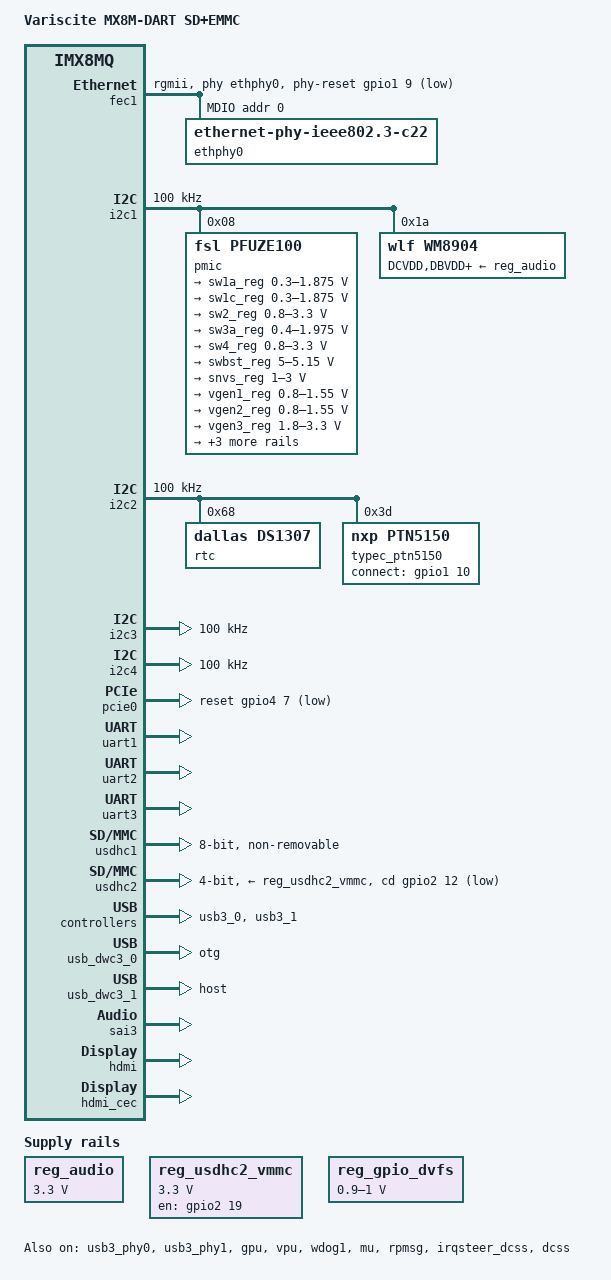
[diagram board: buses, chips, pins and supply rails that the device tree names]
/*
 * Copyright 2017 NXP
 * Copyright 2018 Variscite Ltd.
 *
 * This program is free software; you can redistribute it and/or
 * modify it under the terms of the GNU General Public License
 * as published by the Free Software Foundation; either version 2
 * of the License, or (at your option) any later version.
 *
 * This program is distributed in the hope that it will be useful,
 * but WITHOUT ANY WARRANTY; without even the implied warranty of
 * MERCHANTABILITY or FITNESS FOR A PARTICULAR PURPOSE.  See the
 * GNU General Public License for more details.
 */

/dts-v1/;

#include "../freescale/fsl-imx8mq.dtsi"

/ {
	model = "Variscite MX8M-DART SD+EMMC";
	compatible = "variscite,imx8m-dart", "fsl,imx8mq";

	chosen {
		bootargs = "console=ttymxc0,115200 earlycon=ec_imx6q,0x30860000,115200";
		stdout-path = &uart1;
	};

	regulators {
		compatible = "simple-bus";
		#address-cells = <1>;
		#size-cells = <0>;

		reg_audio: audio_vdd {
			compatible = "regulator-fixed";
			regulator-name = "wm8904_supply";
			regulator-min-microvolt = <3300000>;
			regulator-max-microvolt = <3300000>;
			regulator-always-on;
		};

		reg_usdhc2_vmmc: usdhc2_vmmc {
			compatible = "regulator-fixed";
			regulator-name = "VSD_3V3";
			regulator-min-microvolt = <3300000>;
			regulator-max-microvolt = <3300000>;
			gpio = <&gpio2 19 GPIO_ACTIVE_HIGH>;
			enable-active-high;
		};

		reg_gpio_dvfs: regulator-gpio {
			compatible = "regulator-gpio";
			pinctrl-names = "default";
			pinctrl-0 = <&pinctrl_dvfs>;
			regulator-min-microvolt = <900000>;
			regulator-max-microvolt = <1000000>;
			regulator-name = "gpio_dvfs";
			regulator-type = "voltage";
			gpios = <&gpio1 13 GPIO_ACTIVE_HIGH>;
			states = <900000 0x1 1000000 0x0>;
		};
	};

	sound-wm8904 {
		compatible = "fsl,imx-audio-wm8904";
		model = "imx-wm8904";
		audio-cpu = <&sai3>;
		audio-codec = <&wm8904>;
		audio-routing =
			"Headphone Jack", "HPOUTL",
			"Headphone Jack", "HPOUTR",
			"IN2L", "Line In Jack",
			"IN2R", "Line In Jack",
			"IN1L", "Mic",
			"Playback", "CPU-Playback",
			"CPU-Capture", "Capture";
		status = "okay";
        };

	sound-hdmi {
		compatible = "fsl,imx-audio-cdnhdmi";
		model = "imx-audio-hdmi";
		audio-cpu = <&sai4>;
		protocol = <1>;
		status = "disabled";
	};

	sound-spdif {
		compatible = "fsl,imx-audio-spdif";
		model = "imx-spdif";
		spdif-controller = <&spdif1>;
		spdif-out;
		spdif-in;
		status = "disabled";
	};

	sound-hdmi-arc {
		compatible = "fsl,imx-audio-spdif";
		model = "imx-hdmi-arc";
		spdif-controller = <&spdif2>;
		spdif-in;
		status = "disabled";
	};

        backlight_lvds: backlight_lvds {
                compatible = "pwm-backlight";
                pwms = <&pwm1 0 1000000>;
                brightness-levels = <0 4 8 16 32 64 128 255>;
                default-brightness-level = <7>;
                status = "disabled";
        };
};

&clk {
	assigned-clocks = <&clk IMX8MQ_AUDIO_PLL1>;
	assigned-clock-rates = <786432000>;
};

&iomuxc {
	pinctrl-names = "default";

	imx8mq-evk {
		pinctrl_csi1: csi1grp {
			fsl,pins = <
				MX8MQ_IOMUXC_GPIO1_IO03_GPIO1_IO3		0x19
				MX8MQ_IOMUXC_GPIO1_IO06_GPIO1_IO6		0x19
				MX8MQ_IOMUXC_GPIO1_IO15_CCMSRCGPCMIX_CLKO2	0x59
			>;
		};
		pinctrl_csi2: csi2grp {
			fsl,pins = <
				MX8MQ_IOMUXC_GPIO1_IO05_GPIO1_IO5		0x19
				MX8MQ_IOMUXC_GPIO1_IO06_GPIO1_IO6		0x19
				MX8MQ_IOMUXC_GPIO1_IO15_CCMSRCGPCMIX_CLKO2	0x59
			>;
		};

		pinctrl_fec1: fec1grp {
			fsl,pins = <
				MX8MQ_IOMUXC_ENET_MDC_ENET1_MDC			0x3
				MX8MQ_IOMUXC_ENET_MDIO_ENET1_MDIO		0x23
				MX8MQ_IOMUXC_ENET_TD3_ENET1_RGMII_TD3		0x1f
				MX8MQ_IOMUXC_ENET_TD2_ENET1_RGMII_TD2		0x1f
				MX8MQ_IOMUXC_ENET_TD1_ENET1_RGMII_TD1		0x1f
				MX8MQ_IOMUXC_ENET_TD0_ENET1_RGMII_TD0		0x1f
				MX8MQ_IOMUXC_ENET_RD3_ENET1_RGMII_RD3		0x91
				MX8MQ_IOMUXC_ENET_RD2_ENET1_RGMII_RD2		0x91
				MX8MQ_IOMUXC_ENET_RD1_ENET1_RGMII_RD1		0x91
				MX8MQ_IOMUXC_ENET_RD0_ENET1_RGMII_RD0		0x91
				MX8MQ_IOMUXC_ENET_TXC_ENET1_RGMII_TXC		0x1f
				MX8MQ_IOMUXC_ENET_RXC_ENET1_RGMII_RXC		0x91
				MX8MQ_IOMUXC_ENET_RX_CTL_ENET1_RGMII_RX_CTL	0x91
				MX8MQ_IOMUXC_ENET_TX_CTL_ENET1_RGMII_TX_CTL	0x1f
				MX8MQ_IOMUXC_GPIO1_IO09_GPIO1_IO9		0x19
			>;
		};

		pinctrl_i2c1: i2c1grp {
			fsl,pins = <
				MX8MQ_IOMUXC_I2C1_SCL_I2C1_SCL		0x4000007f
				MX8MQ_IOMUXC_I2C1_SDA_I2C1_SDA		0x4000007f
			>;
		};

		pinctrl_i2c2: i2c2grp {
			fsl,pins = <
				MX8MQ_IOMUXC_I2C2_SCL_I2C2_SCL		0x4000007f
				MX8MQ_IOMUXC_I2C2_SDA_I2C2_SDA		0x4000007f
			>;
		};

		pinctrl_i2c3: i2c3grp {
			fsl,pins = <
				MX8MQ_IOMUXC_I2C3_SCL_I2C3_SCL		0x4000007f
				MX8MQ_IOMUXC_I2C3_SDA_I2C3_SDA		0x4000007f
			>;
		};

		pinctrl_i2c4: i2c4grp {
			fsl,pins = <
				MX8MQ_IOMUXC_I2C4_SCL_I2C4_SCL		0x4000007f
				MX8MQ_IOMUXC_I2C4_SDA_I2C4_SDA		0x4000007f
			>;
		};

		pinctrl_pcie0: pcie0grp {
			fsl,pins = <
				MX8MQ_IOMUXC_GPIO1_IO12_GPIO1_IO12	0x16	/* disable */
				MX8MQ_IOMUXC_SAI1_RXD5_GPIO4_IO7	0x16 	/* reset */
			>;
		};

		pinctrl_pcie1: pcie1grp {
			fsl,pins = <
				MX8MQ_IOMUXC_GPIO1_IO12_GPIO1_IO12	0x16	/* disable */
				MX8MQ_IOMUXC_SAI1_RXD5_GPIO4_IO7	0x16	/* reset */
			>;
		};

		pinctrl_dvfs: dvfsgrp {
			fsl,pins = <
				MX8MQ_IOMUXC_GPIO1_IO13_GPIO1_IO13	0x16
			>;
		};

		pinctrl_uart1: uart1grp {
			fsl,pins = <
				MX8MQ_IOMUXC_UART1_RXD_UART1_DCE_RX		0x49
				MX8MQ_IOMUXC_UART1_TXD_UART1_DCE_TX		0x49
			>;
		};

		pinctrl_uart2: uart2grp {
			fsl,pins = <
				MX8MQ_IOMUXC_UART2_RXD_UART2_DCE_RX		0x49
				MX8MQ_IOMUXC_UART2_TXD_UART2_DCE_TX		0x49
			>;
		};

		pinctrl_uart3: uart3grp {
			fsl,pins = <
				MX8MQ_IOMUXC_UART3_RXD_UART3_DCE_RX		0x49
				MX8MQ_IOMUXC_UART3_TXD_UART3_DCE_TX		0x49
			>;
		};

		pinctrl_usdhc1: usdhc1grp {
			fsl,pins = <
				MX8MQ_IOMUXC_SD1_CLK_USDHC1_CLK			0x83
				MX8MQ_IOMUXC_SD1_CMD_USDHC1_CMD			0xc3
				MX8MQ_IOMUXC_SD1_DATA0_USDHC1_DATA0		0xc3
				MX8MQ_IOMUXC_SD1_DATA1_USDHC1_DATA1		0xc3
				MX8MQ_IOMUXC_SD1_DATA2_USDHC1_DATA2		0xc3
				MX8MQ_IOMUXC_SD1_DATA3_USDHC1_DATA3		0xc3
				MX8MQ_IOMUXC_SD1_DATA4_USDHC1_DATA4		0xc3
				MX8MQ_IOMUXC_SD1_DATA5_USDHC1_DATA5		0xc3
				MX8MQ_IOMUXC_SD1_DATA6_USDHC1_DATA6		0xc3
				MX8MQ_IOMUXC_SD1_DATA7_USDHC1_DATA7		0xc3
				MX8MQ_IOMUXC_SD1_STROBE_USDHC1_STROBE		0x83
				MX8MQ_IOMUXC_SD1_RESET_B_USDHC1_RESET_B		0xc1
			>;
		};

		pinctrl_usdhc1_100mhz: usdhc1grp100mhz {
			fsl,pins = <
				MX8MQ_IOMUXC_SD1_CLK_USDHC1_CLK			0x85
				MX8MQ_IOMUXC_SD1_CMD_USDHC1_CMD			0xc5
				MX8MQ_IOMUXC_SD1_DATA0_USDHC1_DATA0		0xc5
				MX8MQ_IOMUXC_SD1_DATA1_USDHC1_DATA1		0xc5
				MX8MQ_IOMUXC_SD1_DATA2_USDHC1_DATA2		0xc5
				MX8MQ_IOMUXC_SD1_DATA3_USDHC1_DATA3		0xc5
				MX8MQ_IOMUXC_SD1_DATA4_USDHC1_DATA4		0xc5
				MX8MQ_IOMUXC_SD1_DATA5_USDHC1_DATA5		0xc5
				MX8MQ_IOMUXC_SD1_DATA6_USDHC1_DATA6		0xc5
				MX8MQ_IOMUXC_SD1_DATA7_USDHC1_DATA7		0xc5
				MX8MQ_IOMUXC_SD1_STROBE_USDHC1_STROBE		0x85
				MX8MQ_IOMUXC_SD1_RESET_B_USDHC1_RESET_B		0xc1
			>;
		};

		pinctrl_usdhc1_200mhz: usdhc1grp200mhz {
			fsl,pins = <
				MX8MQ_IOMUXC_SD1_CLK_USDHC1_CLK			0x87
				MX8MQ_IOMUXC_SD1_CMD_USDHC1_CMD			0xc7
				MX8MQ_IOMUXC_SD1_DATA0_USDHC1_DATA0		0xc7
				MX8MQ_IOMUXC_SD1_DATA1_USDHC1_DATA1		0xc7
				MX8MQ_IOMUXC_SD1_DATA2_USDHC1_DATA2		0xc7
				MX8MQ_IOMUXC_SD1_DATA3_USDHC1_DATA3		0xc7
				MX8MQ_IOMUXC_SD1_DATA4_USDHC1_DATA4		0xc7
				MX8MQ_IOMUXC_SD1_DATA5_USDHC1_DATA5		0xc7
				MX8MQ_IOMUXC_SD1_DATA6_USDHC1_DATA6		0xc7
				MX8MQ_IOMUXC_SD1_DATA7_USDHC1_DATA7		0xc7
				MX8MQ_IOMUXC_SD1_STROBE_USDHC1_STROBE		0x87
				MX8MQ_IOMUXC_SD1_RESET_B_USDHC1_RESET_B		0xc1
			>;
		};

		pinctrl_usdhc2_gpio: usdhc2grpgpio {
			fsl,pins = <
				MX8MQ_IOMUXC_SD2_CD_B_GPIO2_IO12		0x41
				MX8MQ_IOMUXC_SD2_RESET_B_GPIO2_IO19		0x41
			>;
		};

		pinctrl_usdhc2: usdhc2grp {
			fsl,pins = <
				MX8MQ_IOMUXC_SD2_CLK_USDHC2_CLK			0x83
				MX8MQ_IOMUXC_SD2_CMD_USDHC2_CMD			0xc3
				MX8MQ_IOMUXC_SD2_DATA0_USDHC2_DATA0		0xc3
				MX8MQ_IOMUXC_SD2_DATA1_USDHC2_DATA1		0xc3
				MX8MQ_IOMUXC_SD2_DATA2_USDHC2_DATA2		0xc3
				MX8MQ_IOMUXC_SD2_DATA3_USDHC2_DATA3		0xc3
				MX8MQ_IOMUXC_GPIO1_IO04_USDHC2_VSELECT		0xc1
			>;
		};

		pinctrl_usdhc2_100mhz: usdhc2grp100mhz {
			fsl,pins = <
				MX8MQ_IOMUXC_SD2_CLK_USDHC2_CLK			0x85
				MX8MQ_IOMUXC_SD2_CMD_USDHC2_CMD			0xc5
				MX8MQ_IOMUXC_SD2_DATA0_USDHC2_DATA0		0xc5
				MX8MQ_IOMUXC_SD2_DATA1_USDHC2_DATA1		0xc5
				MX8MQ_IOMUXC_SD2_DATA2_USDHC2_DATA2		0xc5
				MX8MQ_IOMUXC_SD2_DATA3_USDHC2_DATA3		0xc5
				MX8MQ_IOMUXC_GPIO1_IO04_USDHC2_VSELECT		0xc1
			>;
		};

		pinctrl_usdhc2_200mhz: usdhc2grp200mhz {
			fsl,pins = <
				MX8MQ_IOMUXC_SD2_CLK_USDHC2_CLK			0x87
				MX8MQ_IOMUXC_SD2_CMD_USDHC2_CMD			0xc7
				MX8MQ_IOMUXC_SD2_DATA0_USDHC2_DATA0		0xc7
				MX8MQ_IOMUXC_SD2_DATA1_USDHC2_DATA1		0xc7
				MX8MQ_IOMUXC_SD2_DATA2_USDHC2_DATA2		0xc7
				MX8MQ_IOMUXC_SD2_DATA3_USDHC2_DATA3		0xc7
				MX8MQ_IOMUXC_GPIO1_IO04_USDHC2_VSELECT		0xc1
			>;
		};

		pinctrl_sai3: sai3grp {
			fsl,pins = <
				MX8MQ_IOMUXC_SAI3_RXFS_SAI3_RX_SYNC             0xd6
				MX8MQ_IOMUXC_SAI3_RXC_SAI3_RX_BCLK              0xd6
				MX8MQ_IOMUXC_SAI3_RXD_SAI3_RX_DATA0             0xd6
				MX8MQ_IOMUXC_SAI3_TXFS_SAI3_TX_SYNC             0xd6
				MX8MQ_IOMUXC_SAI3_TXC_SAI3_TX_BCLK              0xd6
				MX8MQ_IOMUXC_SAI3_TXD_SAI3_TX_DATA0             0xd6
				MX8MQ_IOMUXC_SAI3_MCLK_SAI3_MCLK                0xd6
			>;
		};

		pinctrl_spdif1: spdif1grp {
			fsl,pins = <
				MX8MQ_IOMUXC_SPDIF_TX_SPDIF1_OUT		0xd6
				MX8MQ_IOMUXC_SPDIF_RX_SPDIF1_IN			0xd6
			>;
		};

		pinctrl_wdog: wdoggrp {
			fsl,pins = <
				MX8MQ_IOMUXC_GPIO1_IO02_WDOG1_WDOG_B 		0xc6
			>;
		};

		pinctrl_pwm1: pwm1grp {
			fsl,pins = <
				MX8MQ_IOMUXC_GPIO1_IO01_PWM1_OUT 		0x56
			>;
		};

		pinctrl_touch: touchgrp {
			fsl,pins = <
				MX8MQ_IOMUXC_SAI1_RXD3_GPIO4_IO5 		0x16
			>;
		};
	};
};

&fec1 {
	pinctrl-names = "default";
	pinctrl-0 = <&pinctrl_fec1>;
	phy-mode = "rgmii";
	phy-handle = <&ethphy0>;
	phy-reset-gpios=<&gpio1 9 GPIO_ACTIVE_LOW>;
	phy-reset-duration=<10>;
	fsl,magic-packet;
	status = "okay";

	mdio {
		#address-cells = <1>;
		#size-cells = <0>;

		ethphy0: ethernet-phy@0 {
			compatible = "ethernet-phy-ieee802.3-c22";
			reg = <0>;
			at803x,led-act-blind-workaround;
			at803x,eee-disabled;
		};
	};
};

&i2c1 {
	clock-frequency = <100000>;
	pinctrl-names = "default";
	pinctrl-0 = <&pinctrl_i2c1>;
	status = "okay";

	pmic: pfuze100@08 {
		compatible = "fsl,pfuze100";
		reg = <0x08>;

		regulators {
			sw1a_reg: sw1ab {
				regulator-min-microvolt = <300000>;
				regulator-max-microvolt = <1875000>;
			};

			sw1c_reg: sw1c {
				regulator-min-microvolt = <300000>;
				regulator-max-microvolt = <1875000>;
			};

			sw2_reg: sw2 {
				regulator-min-microvolt = <800000>;
				regulator-max-microvolt = <3300000>;
				regulator-always-on;
			};

			sw3a_reg: sw3ab {
				regulator-min-microvolt = <400000>;
				regulator-max-microvolt = <1975000>;
				regulator-always-on;
			};

			sw4_reg: sw4 {
				regulator-min-microvolt = <800000>;
				regulator-max-microvolt = <3300000>;
				regulator-always-on;
			};

			swbst_reg: swbst {
				regulator-min-microvolt = <5000000>;
				regulator-max-microvolt = <5150000>;
			};

			snvs_reg: vsnvs {
				regulator-min-microvolt = <1000000>;
				regulator-max-microvolt = <3000000>;
				regulator-always-on;
			};

			vref_reg: vrefddr {
				regulator-always-on;
			};

			vgen1_reg: vgen1 {
				regulator-min-microvolt = <800000>;
				regulator-max-microvolt = <1550000>;
			};

			vgen2_reg: vgen2 {
				regulator-min-microvolt = <800000>;
				regulator-max-microvolt = <1550000>;
				regulator-always-on;
			};

			vgen3_reg: vgen3 {
				regulator-min-microvolt = <1800000>;
				regulator-max-microvolt = <3300000>;
				regulator-always-on;
			};

			vgen4_reg: vgen4 {
				regulator-min-microvolt = <1800000>;
				regulator-max-microvolt = <3300000>;
				regulator-always-on;
			};

			vgen5_reg: vgen5 {
				regulator-min-microvolt = <1800000>;
				regulator-max-microvolt = <3300000>;
				regulator-always-on;
			};

			vgen6_reg: vgen6 {
				regulator-min-microvolt = <1800000>;
				regulator-max-microvolt = <3300000>;
			};
		};
	};

	wm8904: codec@1a {
		compatible = "wlf,wm8904";
		reg = <0x1a>;
		clocks = <&clk IMX8MQ_CLK_SAI3_ROOT>;
		clock-names = "mclk";
		DCVDD-supply = <&reg_audio>;
		DBVDD-supply = <&reg_audio>;
		AVDD-supply = <&reg_audio>;
		CPVDD-supply = <&reg_audio>;
		MICVDD-supply = <&reg_audio>;
		gpio-cfg = <
			0x0018 /* GPIO1 => DMIC_CLK */
			0xffff /* GPIO2 => don't touch */
			0xffff /* GPIO3 => don't touch */
			0xffff /* GPIO4 => don't touch */
		>;
	};

	dsi_lvds_bridge: sn65dsi84@2c {
		reg = <0x2c>;
		status = "disabled";
		compatible = "ti,sn65dsi84";
		enable-gpios = <&gpio1 11 GPIO_ACTIVE_HIGH>;

		sn65dsi84,addresses = <	0x09 0x0A 0x0B 0x0D 0x10 0x11 0x12 0x13 
					0x18 0x19 0x1A 0x1B 0x20 0x21 0x22 0x23 
					0x24 0x25 0x26 0x27 0x28 0x29 0x2A 0x2B 
					0x2C 0x2D 0x2E 0x2F 0x30 0x31 0x32 0x33 
					0x34 0x35 0x36 0x37 0x38 0x39 0x3A 0x3B 
					0x3C 0x3D 0x3E 0x0D>;

		sn65dsi84,values =    <	0x00 0x01 0x10 0x00 0x26 0x00 0x11 0x00 
					0x7a 0x00 0x03 0x00 0x20 0x03 0x00 0x00 
					0x00 0x00 0x00 0x00 0x21 0x00 0x00 0x00 
					0x30 0x00 0x00 0x00 0x03 0x00 0x00 0x00 
					0x28 0x00 0x00 0x00 0x00 0x00 0x00 0x00 
					0x00 0x00 0x00 0x01>;
	};
};

&i2c2 {
	clock-frequency = <100000>;
	pinctrl-names = "default";
	pinctrl-0 = <&pinctrl_i2c2>;
	status = "okay";

        /* DS1307 RTC module */
	rtc@0x68 {
		status = "okay";
		compatible = "dallas,ds1307";
		reg = <0x68>;
        };

	/* Capacitive touch controller */
	ft5x06_ts: ft5x06_ts@38 {
		status = "disabled";
		compatible = "edt,edt-ft5x06";
		reg = <0x38>;
		reset-gpios = <&gpio4 5 GPIO_ACTIVE_LOW>;
		pinctrl-names = "default";
		pinctrl-0 = <&pinctrl_touch>;
		interrupt-parent = <&gpio1>;
		interrupts = <14 0>;
		touchscreen-size-x = <800>;
		touchscreen-size-y = <480>;
		touchscreen-inverted-x;
		touchscreen-inverted-y;
        };

	/* USB-C controller */
	typec_ptn5150: typec@3d {
		status = "okay";
		compatible = "nxp,ptn5150";
		reg = <0x3d>;
		connect-gpios = <&gpio1 10 GPIO_ACTIVE_HIGH>;
	};

	ov5640_mipi: ov5640_mipi@3c {
		status = "disabled";
		compatible = "ovti,ov5640_mipi";
		reg = <0x3c>;
		pinctrl-names = "default";
		pinctrl-0 = <&pinctrl_csi1>;
		clocks = <&clk IMX8MQ_CLK_CLKO2_DIV>;
		clock-names = "csi_mclk";
		assigned-clocks = <&clk IMX8MQ_CLK_CLKO2_SRC>,
				  <&clk IMX8MQ_CLK_CLKO2_DIV>;
		assigned-clock-parents = <&clk IMX8MQ_SYS2_PLL_200M>;
		assigned-clock-rates = <0>, <20000000>;
		csi_id = <0>;
		pwn-gpios = <&gpio1 3 GPIO_ACTIVE_HIGH>;
		rst-gpios = <&gpio1 6 GPIO_ACTIVE_HIGH>;
		mclk = <20000000>;
		mclk_source = <0>;
		port {
			ov5640_mipi1_ep: endpoint {
				remote-endpoint = <&mipi1_sensor_ep>;
			};
		};
	};
};

&i2c3 {
	clock-frequency = <100000>;
	pinctrl-names = "default";
	pinctrl-0 = <&pinctrl_i2c3>;
	status = "okay";
};

&i2c4 {
	clock-frequency = <100000>;
	pinctrl-names = "default";
	pinctrl-0 = <&pinctrl_i2c4>;
	status = "okay";

	ov5640_mipi2: ov5640_mipi2@3c {
		status = "disabled";
		compatible = "ovti,ov5640_mipi";
		reg = <0x3c>;
		pinctrl-names = "default";
		pinctrl-0 = <&pinctrl_csi2>;
		clocks = <&clk IMX8MQ_CLK_CLKO2_DIV>;
		clock-names = "csi_mclk";
		assigned-clocks = <&clk IMX8MQ_CLK_CLKO2_SRC>,
				  <&clk IMX8MQ_CLK_CLKO2_DIV>;
		assigned-clock-parents = <&clk IMX8MQ_SYS2_PLL_200M>;
		assigned-clock-rates = <0>, <20000000>;
		csi_id = <0>;
		pwn-gpios = <&gpio1 5 GPIO_ACTIVE_HIGH>;
		rst-gpios = <&gpio1 6 GPIO_ACTIVE_HIGH>;
		mclk = <20000000>;
		mclk_source = <0>;
		port {
			ov5640_mipi2_ep: endpoint {
				remote-endpoint = <&mipi2_sensor_ep>;
			};
		};
	};
};

&pcie0{
	pinctrl-names = "default";
	pinctrl-0 = <&pinctrl_pcie0>;
	disable-gpio = <&gpio1 12 GPIO_ACTIVE_LOW>;
	reset-gpio = <&gpio4 7 GPIO_ACTIVE_LOW>;
	ext_osc = <1>;
	hard-wired = <1>;
	status = "okay";
};

&pcie1{
	pinctrl-names = "default";
	pinctrl-0 = <&pinctrl_pcie1>;
	disable-gpio = <&gpio1 12 GPIO_ACTIVE_LOW>;
	reset-gpio = <&gpio4 7 GPIO_ACTIVE_LOW>;
	ext_osc = <1>;
	status = "disabled";
};

&uart1 { /* console */
	pinctrl-names = "default";
	pinctrl-0 = <&pinctrl_uart1>;
	assigned-clocks = <&clk IMX8MQ_CLK_UART1_SRC>;
	assigned-clock-parents = <&clk IMX8MQ_CLK_25M>;
	status = "okay";
};

&uart2 { /* external connector */
	pinctrl-names = "default";
	pinctrl-0 = <&pinctrl_uart2>;
	assigned-clocks = <&clk IMX8MQ_CLK_UART2_SRC>;
	assigned-clock-parents = <&clk IMX8MQ_CLK_25M>;
	status = "okay";
};

&uart3 { /* external connector */
	pinctrl-names = "default";
	pinctrl-0 = <&pinctrl_uart3>;
	assigned-clocks = <&clk IMX8MQ_CLK_UART3_SRC>;
	assigned-clock-parents = <&clk IMX8MQ_CLK_25M>;
	status = "okay";
};

&usdhc1 {
	pinctrl-names = "default", "state_100mhz", "state_200mhz";
	pinctrl-0 = <&pinctrl_usdhc1>;
	pinctrl-1 = <&pinctrl_usdhc1_100mhz>;
	pinctrl-2 = <&pinctrl_usdhc1_200mhz>;
	bus-width = <8>;
	non-removable;
	status = "okay";
};

&usdhc2 {
	pinctrl-names = "default", "state_100mhz", "state_200mhz";
	pinctrl-0 = <&pinctrl_usdhc2>, <&pinctrl_usdhc2_gpio>;
	pinctrl-1 = <&pinctrl_usdhc2_100mhz>, <&pinctrl_usdhc2_gpio>;
	pinctrl-2 = <&pinctrl_usdhc2_200mhz>, <&pinctrl_usdhc2_gpio>;
	bus-width = <4>;
	cd-gpios = <&gpio2 12 GPIO_ACTIVE_LOW>;
	vmmc-supply = <&reg_usdhc2_vmmc>;
	status = "okay";
};

&usb3_phy0 {
	status = "okay";
};

&usb3_0 {
	status = "okay";
};

&usb_dwc3_0 {
	status = "okay";
	extcon = <&typec_ptn5150>;
	dr_mode = "otg";
};

&usb3_phy1 {
	status = "okay";
};

&usb3_1 {
	status = "okay";
};

&usb_dwc3_1 {
	status = "okay";
	dr_mode = "host";
};

&sai3 {
	pinctrl-names = "default";
	pinctrl-0 = <&pinctrl_sai3>;
	assigned-clocks = <&clk IMX8MQ_CLK_SAI3_SRC>,
			<&clk IMX8MQ_CLK_SAI3_DIV>;
	assigned-clock-parents = <&clk IMX8MQ_AUDIO_PLL1_OUT>;
	assigned-clock-rates = <0>, <24576000>;
	status = "okay";
};

&sai4 {
	assigned-clocks = <&clk IMX8MQ_CLK_SAI4_SRC>,
			<&clk IMX8MQ_CLK_SAI4_DIV>;
	assigned-clock-parents = <&clk IMX8MQ_AUDIO_PLL1_OUT>;
	assigned-clock-rates = <0>, <24576000>;
	status = "disabled";
};

&spdif1 {
	pinctrl-names = "default";
	pinctrl-0 = <&pinctrl_spdif1>;
	assigned-clocks = <&clk IMX8MQ_CLK_SPDIF1_SRC>,
			<&clk IMX8MQ_CLK_SPDIF1_DIV>;
	assigned-clock-parents = <&clk IMX8MQ_AUDIO_PLL1_OUT>;
	assigned-clock-rates = <0>, <24576000>;
	status = "disabled";
};

&spdif2 {
	assigned-clocks = <&clk IMX8MQ_CLK_SPDIF2_SRC>,
			<&clk IMX8MQ_CLK_SPDIF2_DIV>;
	assigned-clock-parents = <&clk IMX8MQ_AUDIO_PLL1_OUT>;
	assigned-clock-rates = <0>, <24576000>;
	status = "disabled";
};

&gpu_pd {
	power-supply = <&sw1a_reg>;
};

&vpu_pd {
	power-supply = <&sw1c_reg>;
};

&gpu {
	status = "okay";
};

&vpu {
	status = "okay";
};

&wdog1 {
	pinctrl-names = "default";
	pinctrl-0 = <&pinctrl_wdog>;
	fsl,wdog_b;
	status = "okay";
};

&mu {
	status = "okay";
};

&rpmsg{
	/*
	 * 64K for one rpmsg instance:
	 * --0xb8000000~0xb800ffff: pingpong
	 */
	vdev-nums = <1>;
	reg = <0x0 0xb8000000 0x0 0x10000>;
	status = "okay";
};

&A53_0 {
	operating-points = <
		/* kHz    uV */
		1500000 1000000
		1300000 1000000
		1000000 900000
		800000  900000
	>;
	dc-supply = <&reg_gpio_dvfs>;
};

&irqsteer_dcss {
        status = "okay";
};

&dcss {
	status = "okay";
	disp-dev = "hdmi_disp";
};

&hdmi {
	status = "okay";
};

&hdmi_cec {
	status = "okay";
};

&csi1_bridge {
	fsl,mipi-mode;
	fsl,two-8bit-sensor-mode;
	status = "disabled";

	port {
		csi1_ep: endpoint {
			remote-endpoint = <&csi1_mipi_ep>;
		};
	};
};

&csi2_bridge {
	fsl,mipi-mode;
	fsl,two-8bit-sensor-mode;
	status = "disabled";

	port {
		csi2_ep: endpoint {
			remote-endpoint = <&csi2_mipi_ep>;
		};
	};
};

&mipi_csi_1 {
	#address-cells = <1>;
	#size-cells = <0>;
	status = "disabled";
	port {
		mipi1_sensor_ep: endpoint1 {
			remote-endpoint = <&ov5640_mipi1_ep>;
			data-lanes = <1 2>;
		};

		csi1_mipi_ep: endpoint2 {
			remote-endpoint = <&csi1_ep>;
		};
	};
};

&mipi_csi_2 {
	#address-cells = <1>;
	#size-cells = <0>;
	status = "disabled";
	port {
		mipi2_sensor_ep: endpoint1 {
			remote-endpoint = <&ov5640_mipi2_ep>;
			data-lanes = <1 2>;
		};

		csi2_mipi_ep: endpoint2 {
			remote-endpoint = <&csi2_ep>;
		};
	};
};

&snvs_rtc {
	status = "disabled";
};

